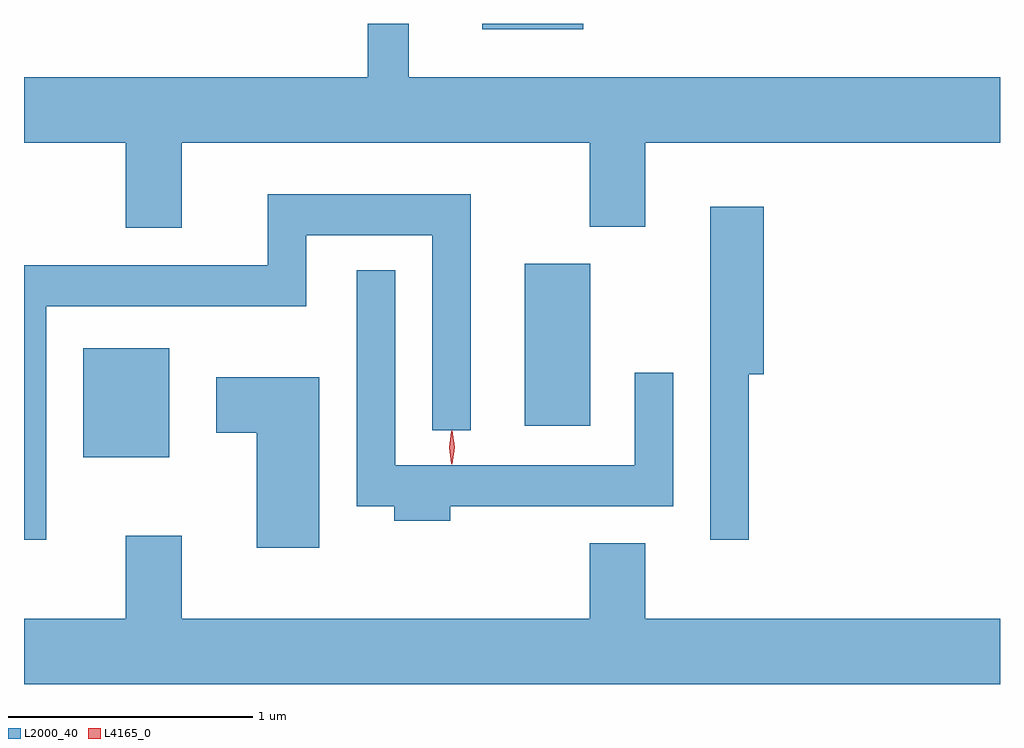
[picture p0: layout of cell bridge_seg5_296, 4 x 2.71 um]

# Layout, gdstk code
import gdstk
lib = gdstk.Library(unit=1e-6, precision=1e-09)
def R(c, l, rs):  # rectangles x0, y0, x1, y1
    for r in rs: c.add(gdstk.rectangle(r[:2], r[2:], *l))
def P(c, l, *ps):  # polygons
    for p in ps: c.add(gdstk.Polygon(p, *l))
L2000_40 = (2000, 40)
L4165_0 = (4165, 0)

bridge_seg5_296 = lib.new_cell('bridge_seg5_296')
R(bridge_seg5_296, L2000_40, [(690.006,1508.786,690.359,1509.234), (691.816,1508.916,692.084,1509.579), (691.641,1510.541,692.054,1510.563)])
P(bridge_seg5_296, L2000_40, [(690.409,1510.076),(692.081,1510.076),(692.081,1509.731),(692.309,1509.731),(692.309,1510.076),(693.763,1510.076),(693.763,1510.344),(691.339,1510.344),(691.339,1510.563),(691.171,1510.563),(691.171,1510.344),(689.763,1510.344),(689.763,1510.076),(690.181,1510.076),(690.181,1509.726),(690.409,1509.726)],
  [(689.854,1509.406),(690.919,1509.406),(690.919,1509.696),(691.436,1509.696),(691.436,1508.898),(691.594,1508.898),(691.594,1509.864),(690.761,1509.864),(690.761,1509.574),(689.763,1509.574),(689.763,1508.448),(689.854,1508.448)],
  [(692.734,1509.126),(692.794,1509.126),(692.794,1509.814),(692.576,1509.814),(692.576,1508.448),(692.734,1508.448)],
  [(691.509,1508.586),(692.424,1508.586),(692.424,1509.133),(692.266,1509.133),(692.266,1508.754),(691.284,1508.754),(691.284,1509.553),(691.126,1509.553),(691.126,1508.586),(691.281,1508.586),(691.281,1508.526),(691.509,1508.526)],
  [(690.974,1509.114),(690.551,1509.114),(690.551,1508.886),(690.716,1508.886),(690.716,1508.416),(690.974,1508.416)],
  [(693.763,1508.124),(692.309,1508.124),(692.309,1508.434),(692.081,1508.434),(692.081,1508.124),(690.409,1508.124),(690.409,1508.464),(690.181,1508.464),(690.181,1508.124),(689.763,1508.124),(689.763,1507.856),(693.763,1507.856)])
P(bridge_seg5_296, L4165_0, [(691.518,1508.757),(691.518,1508.757),(691.508,1508.827),(691.518,1508.896),(691.518,1508.896),(691.518,1508.896),(691.528,1508.827),(691.518,1508.757)],
  [(691.515,1508.76),(691.506,1508.826),(691.515,1508.892),(691.516,1508.893),(691.516,1508.892),(691.526,1508.826),(691.516,1508.76),(691.516,1508.76)])

lib.write_gds('bridge_seg5_296.gds')
